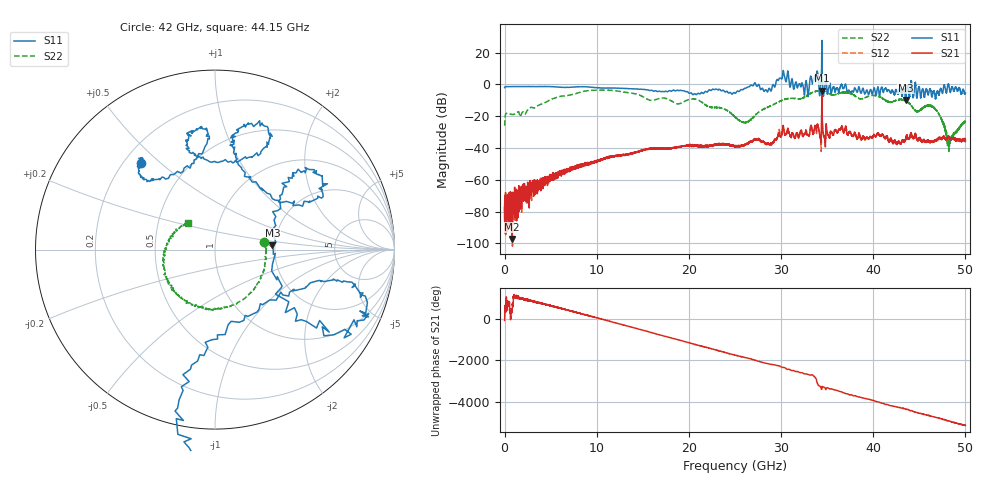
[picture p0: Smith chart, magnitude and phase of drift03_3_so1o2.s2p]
!Created with skrf (http://scikit-rf.org).
# Hz S RI R 50.0
!freq ReS11 ImS11 ReS21 ImS21 ReS12 ImS12 ReS22 ImS22
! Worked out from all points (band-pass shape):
!   10000 points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, 5.3 MHz to 50 GHz, reference 50 ohm
!   highest |S21| = -3.95 dB at 34.43 GHz (marker M1); lowest = -97.2 dB at 805.3 MHz (marker M2)
!   |S21| within 3 dB of the highest: 34.42702 GHz to 34.43439 GHz (7.367 MHz wide, 0.0214 % of centre)
!   lowest |S11| = -9.9 dB at 43.53 GHz (marker M3), VSWR 1.94, Z = 96.7 + j5.17 ohm
!   |S11| at or under -10 dB: nowhere
!   |S22| runs from -42.0 to -3.6 dB; largest |S21 - S12| = 0.19
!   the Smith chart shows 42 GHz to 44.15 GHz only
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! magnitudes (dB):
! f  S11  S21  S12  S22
! 5.3 MHz  -2.1  -79.4  -83.7  -26.1
! 805.3 MHz  -1.4  -97.2  -74.7  -18.9
! 3.005 GHz  -1.4  -62.9  -63.7  -14.5
! 8.34 GHz  -1.5  -50.8  -50.9  -4.7
! 16.67 GHz  -4.4  -40.3  -40.3  -9.1
! 20.72 GHz  -6.2  -38.4  -38.4  -9.3
! 25.01 GHz  -5.6  -39.4  -38.8  -20.5
! 26.23 GHz  -2.2  -37.2  -37.6  -23.9
! 27.36 GHz  -1.1  -35.0  -35.0  -18.6
! 28.72 GHz  -2.5  -37.6  -37.6  -14.0
! 30.14 GHz  4.2  -29.3  -29.9  -10.0
! 32.74 GHz  2.1  -29.6  -29.2  -7.4
! 33.34 GHz  2.3  -27.2  -27.6  -5.3
! 33.82 GHz  3.9  -28.9  -29.2  -4.3
! 34.43 GHz  27.6  -3.9  -5.9  -4.0
! 36.47 GHz  -0.9  -27.9  -28.1  -5.2
! 41.67 GHz  -3.6  -36.0  -35.6  -11.1
! 43.53 GHz  -9.9  -34.3  -34.4  -10.3
! 44.73 GHz  -8.6  -34.3  -34.2  -17.1
! 46.65 GHz  -5.1  -35.1  -35.5  -14.9
! 48.24 GHz  -1.6  -33.1  -33.5  -39.1
! 50 GHz  -5.4  -36.0  -35.2  -23.5
